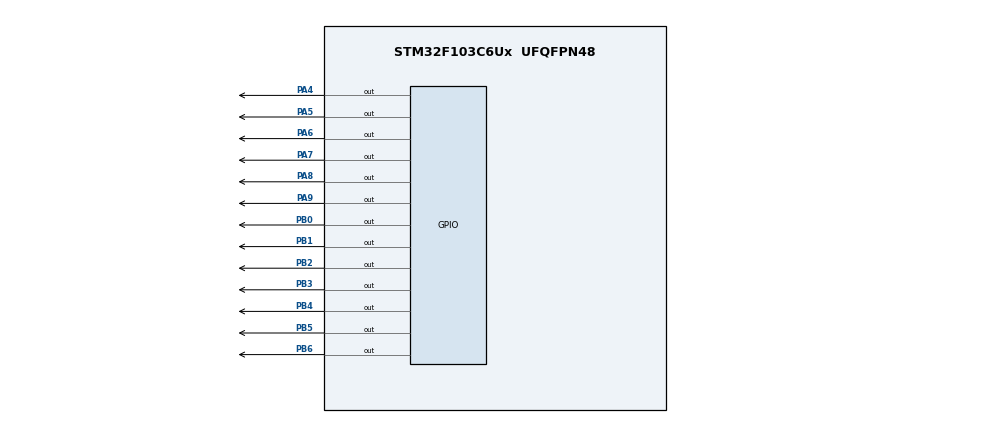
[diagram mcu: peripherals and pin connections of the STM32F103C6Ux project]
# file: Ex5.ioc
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Mcu.Family=STM32F1
Mcu.Name=STM32F103C6Ux
Mcu.Package=UFQFPN48
NVIC.PriorityGroup=NVIC_PRIORITYGROUP_4
NVIC.TIM2_IRQn=true\:0\:0\:false\:false\:true\:true\:true
PA4.Signal=GPIO_Output
PA5.Signal=GPIO_Output
PA6.Signal=GPIO_Output
PA7.Signal=GPIO_Output
PA8.Signal=GPIO_Output
PA9.Signal=GPIO_Output
PB0.Signal=GPIO_Output
PB1.Signal=GPIO_Output
PB2.Signal=GPIO_Output
PB3.Signal=GPIO_Output
PB4.Signal=GPIO_Output
PB5.Signal=GPIO_Output
PB6.Signal=GPIO_Output
ProjectManager.HeapSize=0x200
ProjectManager.StackSize=0x400
ProjectManager.TargetToolchain=STM32CubeIDE
RCC.APB1Freq_Value=8000000
RCC.APB2Freq_Value=8000000
TIM2.Period=9
TIM2.Prescaler=7999
VP_SYS_VS_ND.Mode=No_Debug
VP_TIM2_VS_ClockSourceINT.Mode=Internal
board=custom

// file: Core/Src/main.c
/* USER CODE BEGIN Header */
/**
  ******************************************************************************
  * @file           : main.c
  * @brief          : Main program body
  ******************************************************************************
  * @attention
  *
  * <h2><center>&copy; Copyright (c) 2022 STMicroelectronics.
  * All rights reserved.</center></h2>
  *
  * This software component is licensed by ST under BSD 3-Clause license,
  * the "License"; You may not use this file except in compliance with the
  * License. You may obtain a copy of the License at:
  *                        opensource.org/licenses/BSD-3-Clause
  *
  ******************************************************************************
  */
/* USER CODE END Header */
#include "main.h"

TIM_HandleTypeDef htim2;

void SystemClock_Config(void);
static void MX_GPIO_Init(void);
static void MX_TIM2_Init(void);

/* USER CODE BEGIN 0 */
int arr[10] = {
		0x00C0,  //0
		0x00F9,  //1
		0x00A4,  //2
		0x00B0,  //3
		0x0099,  //4
		0x0092,  //5
		0x0082,  //6
		0x00F8,  //7
		0x0080,  //8
		0x0090,  //9
};
void display_7segment(int number){
//	HAL_GPIO_WritePin(GPIOB,GPIO_PIN_0,(number>>0)&0x01);
//	HAL_GPIO_WritePin(GPIOB,GPIO_PIN_1,(number>>1)&0x01);
//	HAL_GPIO_WritePin(GPIOB,GPIO_PIN_2,(number>>2)&0x01);
//	HAL_GPIO_WritePin(GPIOB,GPIO_PIN_3,(number>>3)&0x01);
//	HAL_GPIO_WritePin(GPIOB,GPIO_PIN_4,(number>>4)&0x01);
//	HAL_GPIO_WritePin(GPIOB,GPIO_PIN_5,(number>>5)&0x01);
//	HAL_GPIO_WritePin(GPIOB,GPIO_PIN_6,(number>>6)&0x01);
	GPIOB->ODR = arr[number];
}
const int MAX_LED = 4;
int index_led = 3;
int led_buffer[4] = {1,2,3,4};
void update7SEG(int index){
	switch(index){
		case 0:
			display_7segment(led_buffer[index]);
			break;
		case 1:
			display_7segment(led_buffer[index]);
			break;
		case 2:
			display_7segment(led_buffer[index]);
			break;
		case 3:
			display_7segment(led_buffer[index]);
			break;
		default:
			break;
	}
}
int h = 15,m = 8,s = 50;
void updateClockBuffer(){
	led_buffer[0] = (int)h/10;
	led_buffer[1] = (int)h%10;
	led_buffer[2] = (int)m/10;
	led_buffer[3] = (int)m%10;
}
/* USER CODE END 0 */

int main(void)
{

  /* MCU Configuration--------------------------------------------------------*/

  /* Reset of all peripherals, Initializes the Flash interface and the Systick. */
  HAL_Init();

  /* Configure the system clock */
  SystemClock_Config();

  /* Initialize all configured peripherals */
  MX_GPIO_Init();
  MX_TIM2_Init();
  /* USER CODE BEGIN 2 */
  HAL_TIM_Base_Start_IT (& htim2 ) ;
  /* USER CODE END 2 */

  /* Infinite loop */
  /* USER CODE BEGIN WHILE */
  while (1)
  {
	  HAL_GPIO_TogglePin(GPIOA,GPIO_PIN_4);
	  HAL_GPIO_TogglePin(GPIOA,GPIO_PIN_5);
	  s++;
	  if(s >= 60){
		  s = 0;
		  m++;
	  }
	  if(m >= 60){
		  m = 0;
		  h++;
	  }
	  if(h >= 24){
		  h = 0;
	  }
	  updateClockBuffer();
	  HAL_Delay(1000);
    /* USER CODE END WHILE */

  }
}

void SystemClock_Config(void)
{
  RCC_OscInitTypeDef RCC_OscInitStruct = {0};
  RCC_ClkInitTypeDef RCC_ClkInitStruct = {0};

  /** Initializes the RCC Oscillators according to the specified parameters
  * in the RCC_OscInitTypeDef structure.
  */
  RCC_OscInitStruct.OscillatorType = RCC_OSCILLATORTYPE_HSI;
  RCC_OscInitStruct.HSIState = RCC_HSI_ON;
  RCC_OscInitStruct.HSICalibrationValue = RCC_HSICALIBRATION_DEFAULT;
  RCC_OscInitStruct.PLL.PLLState = RCC_PLL_NONE;
  if (HAL_RCC_OscConfig(&RCC_OscInitStruct) != HAL_OK)
  {
    Error_Handler();
  }
  /** Initializes the CPU, AHB and APB buses clocks
  */
  RCC_ClkInitStruct.ClockType = RCC_CLOCKTYPE_HCLK|RCC_CLOCKTYPE_SYSCLK
                              |RCC_CLOCKTYPE_PCLK1|RCC_CLOCKTYPE_PCLK2;
  RCC_ClkInitStruct.SYSCLKSource = RCC_SYSCLKSOURCE_HSI;
  RCC_ClkInitStruct.AHBCLKDivider = RCC_SYSCLK_DIV1;
  RCC_ClkInitStruct.APB1CLKDivider = RCC_HCLK_DIV1;
  RCC_ClkInitStruct.APB2CLKDivider = RCC_HCLK_DIV1;

  if (HAL_RCC_ClockConfig(&RCC_ClkInitStruct, FLASH_LATENCY_0) != HAL_OK)
  {
    Error_Handler();
  }
}

static void MX_TIM2_Init(void)
{

  TIM_ClockConfigTypeDef sClockSourceConfig = {0};
  TIM_MasterConfigTypeDef sMasterConfig = {0};

  htim2.Instance = TIM2;
  htim2.Init.Prescaler = 7999;
  htim2.Init.CounterMode = TIM_COUNTERMODE_UP;
  htim2.Init.Period = 9;
  htim2.Init.ClockDivision = TIM_CLOCKDIVISION_DIV1;
  htim2.Init.AutoReloadPreload = TIM_AUTORELOAD_PRELOAD_DISABLE;
  if (HAL_TIM_Base_Init(&htim2) != HAL_OK)
  {
    Error_Handler();
  }
  sClockSourceConfig.ClockSource = TIM_CLOCKSOURCE_INTERNAL;
  if (HAL_TIM_ConfigClockSource(&htim2, &sClockSourceConfig) != HAL_OK)
  {
    Error_Handler();
  }
  sMasterConfig.MasterOutputTrigger = TIM_TRGO_RESET;
  sMasterConfig.MasterSlaveMode = TIM_MASTERSLAVEMODE_DISABLE;
  if (HAL_TIMEx_MasterConfigSynchronization(&htim2, &sMasterConfig) != HAL_OK)
  {
    Error_Handler();
  }

}

static void MX_GPIO_Init(void)
{
  GPIO_InitTypeDef GPIO_InitStruct = {0};

  /* GPIO Ports Clock Enable */
  __HAL_RCC_GPIOA_CLK_ENABLE();
  __HAL_RCC_GPIOB_CLK_ENABLE();

  /*Configure GPIO pin Output Level */
  HAL_GPIO_WritePin(GPIOA, GPIO_PIN_4|GPIO_PIN_5|GPIO_PIN_6|GPIO_PIN_7
                          |GPIO_PIN_8|GPIO_PIN_9, GPIO_PIN_RESET);

  /*Configure GPIO pin Output Level */
  HAL_GPIO_WritePin(GPIOB, GPIO_PIN_0|GPIO_PIN_1|GPIO_PIN_2|GPIO_PIN_3
                          |GPIO_PIN_4|GPIO_PIN_5|GPIO_PIN_6, GPIO_PIN_RESET);

  /*Configure GPIO pins : PA4 PA5 PA6 PA7
                           PA8 PA9 */
  GPIO_InitStruct.Pin = GPIO_PIN_4|GPIO_PIN_5|GPIO_PIN_6|GPIO_PIN_7
                          |GPIO_PIN_8|GPIO_PIN_9;
  GPIO_InitStruct.Mode = GPIO_MODE_OUTPUT_PP;
  GPIO_InitStruct.Pull = GPIO_NOPULL;
  GPIO_InitStruct.Speed = GPIO_SPEED_FREQ_LOW;
  HAL_GPIO_Init(GPIOA, &GPIO_InitStruct);

  /*Configure GPIO pins : PB0 PB1 PB2 PB3
                           PB4 PB5 PB6 */
  GPIO_InitStruct.Pin = GPIO_PIN_0|GPIO_PIN_1|GPIO_PIN_2|GPIO_PIN_3
                          |GPIO_PIN_4|GPIO_PIN_5|GPIO_PIN_6;
  GPIO_InitStruct.Mode = GPIO_MODE_OUTPUT_PP;
  GPIO_InitStruct.Pull = GPIO_NOPULL;
  GPIO_InitStruct.Speed = GPIO_SPEED_FREQ_LOW;
  HAL_GPIO_Init(GPIOB, &GPIO_InitStruct);

}

/* USER CODE BEGIN 4 */
int cnt = 0;
int en[4] = {1,1,1,0};
void HAL_TIM_PeriodElapsedCallback ( TIM_HandleTypeDef * htim ){
	cnt--;
	if(cnt <= 0){
	  cnt = 50;
	  en[index_led] = 1;
	  index_led = (index_led+1)%MAX_LED;
	  en[index_led] = 0;
	  HAL_GPIO_WritePin(GPIOA,GPIO_PIN_6,en[0]);
	  HAL_GPIO_WritePin(GPIOA,GPIO_PIN_7,en[1]);
	  HAL_GPIO_WritePin(GPIOA,GPIO_PIN_8,en[2]);
	  HAL_GPIO_WritePin(GPIOA,GPIO_PIN_9,en[3]);
	  update7SEG(index_led);
	}
}
/* USER CODE END 4 */

void Error_Handler(void)
{
  __disable_irq();
  while (1)
  {
  }
}

/************************ (C) COPYRIGHT STMicroelectronics *****END OF FILE****/
